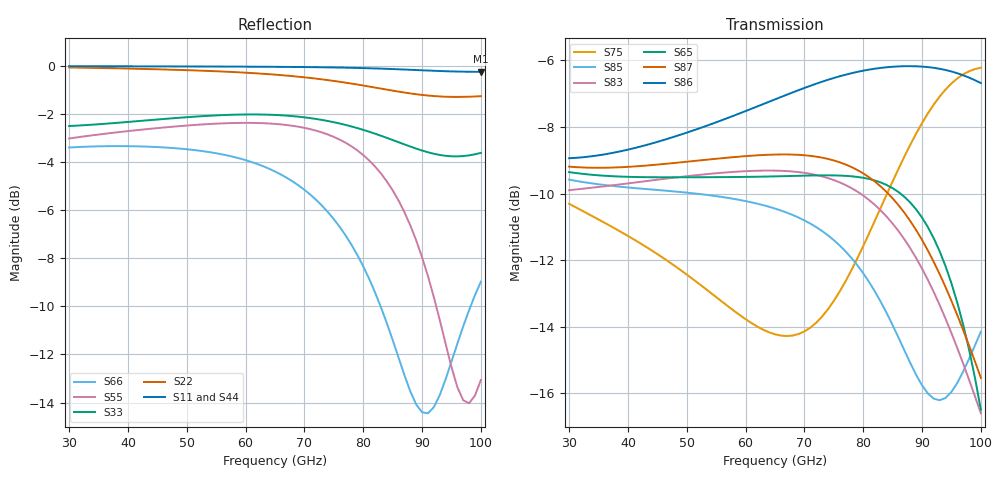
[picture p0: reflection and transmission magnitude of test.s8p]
! Touchstone simulation data from EMX version 6.1
! Thu Apr 11 00:54:05 2024
# Hz S RI R 50
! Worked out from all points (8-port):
!   71 points, 30 GHz to 100 GHz, reference 50 ohm
!   strongest paths, dB at 30 GHz, 47 GHz, 65 GHz, 83 GHz, 100 GHz:
!     S86: -8.9, -8.3, -7.2, -6.2, -6.7
!     S87: -9.2, -9.1, -8.8, -9.8, -15.5
!     S65: -9.4, -9.5, -9.5, -9.7, -16.5
!     S83: -9.9, -9.5, -9.3, -10.5, -16.6
!     S85: -9.6, -9.9, -10.5, -13.3, -14.2
!     S75: -10.3, -12.1, -14.2, -10.4, -6.2
!   lowest |S11| = -0.2 dB at 100 GHz (marker M1), VSWR 71.10, Z = 18.4 - j250 ohm
!   |S11| at or under -10 dB: nowhere
